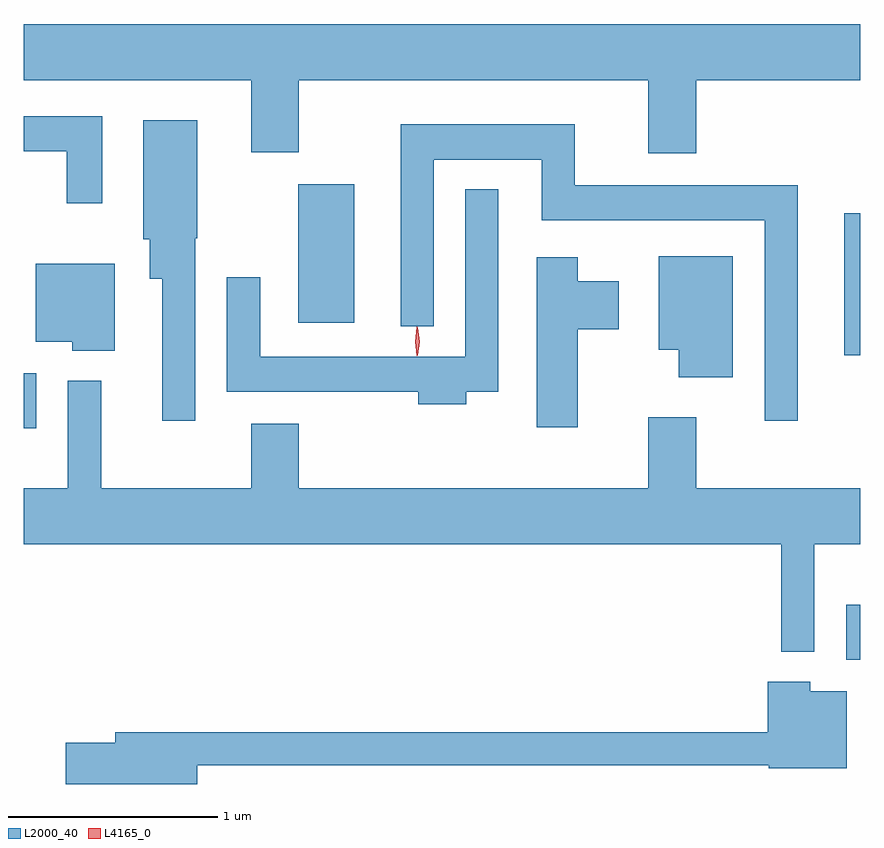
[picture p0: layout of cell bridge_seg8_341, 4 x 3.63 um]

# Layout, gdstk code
import gdstk
lib = gdstk.Library(unit=1e-6, precision=1e-09)
def R(c, l, rs):  # rectangles x0, y0, x1, y1
    for r in rs: c.add(gdstk.rectangle(r[:2], r[2:], *l))
def P(c, l, *ps):  # polygons
    for p in ps: c.add(gdstk.Polygon(p, *l))
L2000_40 = (2000, 40)
L4165_0 = (4165, 0)

bridge_seg8_341 = lib.new_cell('bridge_seg8_341')
R(bridge_seg8_341, L2000_40, [(719.236,1915.786,719.304,1916.049), (715.304,1916.891,715.364,1917.154), (719.226,1917.241,719.304,1917.919), (716.616,1917.396,716.884,1918.059)])
P(bridge_seg8_341, L2000_40, [(718.519,1918.556),(719.304,1918.556),(719.304,1918.824),(715.304,1918.824),(715.304,1918.556),(716.391,1918.556),(716.391,1918.211),(716.619,1918.211),(716.619,1918.556),(718.291,1918.556),(718.291,1918.206),(718.519,1918.206)],
  [(715.679,1918.384),(715.304,1918.384),(715.304,1918.216),(715.511,1918.216),(715.511,1917.968),(715.679,1917.968)],
  [(716.124,1917.8),(716.134,1917.8),(716.134,1918.364),(715.876,1918.364),(715.876,1917.796),(715.906,1917.796),(715.906,1917.606),(715.966,1917.606),(715.966,1916.928),(716.124,1916.928)],
  [(719.004,1918.054),(717.939,1918.054),(717.939,1918.344),(717.106,1918.344),(717.106,1917.378),(717.264,1917.378),(717.264,1918.176),(717.781,1918.176),(717.781,1917.886),(718.846,1917.886),(718.846,1916.928),(719.004,1916.928)],
  [(717.419,1917.066),(717.574,1917.066),(717.574,1918.033),(717.416,1918.033),(717.416,1917.234),(716.434,1917.234),(716.434,1917.613),(716.276,1917.613),(716.276,1917.066),(717.191,1917.066),(717.191,1917.006),(717.419,1917.006)],
  [(718.694,1917.714),(718.341,1917.714),(718.341,1917.266),(718.436,1917.266),(718.436,1917.136),(718.694,1917.136)],
  [(717.954,1917.366),(718.149,1917.366),(718.149,1917.594),(717.954,1917.594),(717.954,1917.709),(717.756,1917.709),(717.756,1916.896),(717.954,1916.896)],
  [(715.739,1917.679),(715.361,1917.679),(715.361,1917.306),(715.536,1917.306),(715.536,1917.261),(715.739,1917.261)],
  [(719.084,1916.336),(719.304,1916.336),(719.304,1916.604),(718.519,1916.604),(718.519,1916.944),(718.291,1916.944),(718.291,1916.604),(716.619,1916.604),(716.619,1916.914),(716.391,1916.914),(716.391,1916.604),(715.674,1916.604),(715.674,1917.118),(715.516,1917.118),(715.516,1916.604),(715.304,1916.604),(715.304,1916.336),(718.926,1916.336),(718.926,1915.823),(719.084,1915.823)],
  [(716.134,1915.281),(718.865,1915.281),(718.865,1915.266),(719.239,1915.266),(719.239,1915.634),(719.064,1915.634),(719.064,1915.679),(718.861,1915.679),(718.861,1915.439),(715.741,1915.439),(715.741,1915.389),(715.506,1915.389),(715.506,1915.191),(716.134,1915.191)])
P(bridge_seg8_341, L4165_0, [(717.187,1917.24),(717.187,1917.24),(717.177,1917.306),(717.186,1917.372),(717.187,1917.373),(717.187,1917.372),(717.197,1917.306),(717.188,1917.24)],
  [(717.184,1917.237),(717.175,1917.306),(717.184,1917.376),(717.185,1917.376),(717.185,1917.376),(717.195,1917.306),(717.185,1917.237),(717.185,1917.237)])

lib.write_gds('bridge_seg8_341.gds')
